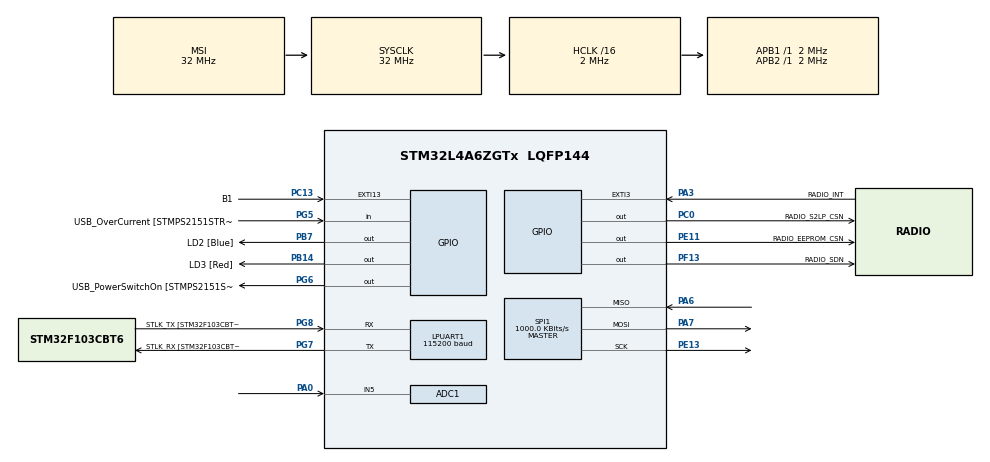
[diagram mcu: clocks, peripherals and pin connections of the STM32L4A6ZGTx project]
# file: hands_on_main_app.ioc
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ADC1.Channel-0\#ChannelRegularConversion=ADC_CHANNEL_5
ADC1.ClockPrescaler=ADC_CLOCK_ASYNC_DIV10
ADC1.DMAContinuousRequests=ENABLE
ADC1.ExternalTrigConv=ADC_EXTERNALTRIG_T3_TRGO
ADC1.NbrOfConversionFlag=1
ADC1.OffsetNumber-0\#ChannelRegularConversion=ADC_OFFSET_NONE
ADC1.Rank-0\#ChannelRegularConversion=1
ADC1.SamplingTime-0\#ChannelRegularConversion=ADC_SAMPLETIME_2CYCLES_5
ADC1.master=1
AES.Data\ encryption\ types\ list=AESCBC
AES.DataType=CRYP_DATATYPE_8B
AES.KeySize=CRYP_KEYSIZE_128B
AES.KeyWriteFlag=CRYP_KEY_WRITE_DISABLE
AES.OperatingMode=CRYP_ALGOMODE_ENCRYPT
AES.pKey=00 00 00 00 00 00 00 00 00 00 00 00 00 00 00 00
Dma.ADC1.0.Direction=DMA_PERIPH_TO_MEMORY
Dma.ADC1.0.Instance=DMA1_Channel1
Dma.ADC1.0.MemDataAlignment=DMA_MDATAALIGN_HALFWORD
Dma.ADC1.0.MemInc=DMA_MINC_ENABLE
Dma.ADC1.0.Mode=DMA_CIRCULAR
Dma.ADC1.0.PeriphDataAlignment=DMA_PDATAALIGN_HALFWORD
Dma.ADC1.0.PeriphInc=DMA_PINC_DISABLE
Dma.ADC1.0.Priority=DMA_PRIORITY_LOW
Dma.Request0=ADC1
LPUART1.AutoBaudRateEnableParam=UART_ADVFEATURE_AUTOBAUDRATE_DISABLE
LPUART1.BaudRate=115200
LPUART1.DMADisableonRxErrorParam=UART_ADVFEATURE_DMA_ENABLEONRXERROR
LPUART1.DataInvertParam=UART_ADVFEATURE_DATAINV_DISABLE
LPUART1.MSBFirstParam=UART_ADVFEATURE_MSBFIRST_DISABLE
LPUART1.Mode=UART_MODE_TX_RX
LPUART1.OneBitSampling=UART_ONE_BIT_SAMPLE_DISABLE
LPUART1.OverrunDisableParam=UART_ADVFEATURE_OVERRUN_ENABLE
LPUART1.Parity=UART_PARITY_NONE
LPUART1.RxPinLevelInvertParam=UART_ADVFEATURE_RXINV_DISABLE
LPUART1.StopBits=UART_STOPBITS_1
LPUART1.SwapParam=UART_ADVFEATURE_SWAP_DISABLE
LPUART1.TxPinLevelInvertParam=UART_ADVFEATURE_TXINV_DISABLE
LPUART1.WordLength=UART_WORDLENGTH_8B
Mcu.Family=STM32L4
Mcu.Name=STM32L4A6ZGTx
Mcu.Package=LQFP144
NVIC.AES_IRQn=true\:0\:0\:false\:false\:true\:true\:true\:true
NVIC.DMA1_Channel1_IRQn=true\:1\:0\:true\:false\:true\:false\:true\:true
NVIC.EXTI15_10_IRQn=true\:0\:0\:false\:false\:true\:true\:true\:true
NVIC.EXTI3_IRQn=true\:0\:0\:false\:false\:true\:true\:true\:true
NVIC.PriorityGroup=NVIC_PRIORITYGROUP_4
NVIC.TIM3_IRQn=true\:0\:0\:true\:false\:true\:true\:true\:true
PA0.Signal=ADCx_IN5
PA10.GPIO_Label=USB_ID
PA10.Signal=USB_OTG_FS_ID
PA11.GPIO_Label=USB_DM
PA11.Signal=USB_OTG_FS_DM
PA12.GPIO_Label=USB_DP
PA12.Signal=USB_OTG_FS_DP
PA13\ (JTMS/SWDIO).GPIO_Label=TMS
PA13\ (JTMS/SWDIO).Mode=Trace_Asynchronous_SW
PA13\ (JTMS/SWDIO).Signal=SYS_JTMS-SWDIO
PA14\ (JTCK/SWCLK).GPIO_Label=TCK
PA14\ (JTCK/SWCLK).Mode=Trace_Asynchronous_SW
PA14\ (JTCK/SWCLK).Signal=SYS_JTCK-SWCLK
PA3.GPIO_Label=RADIO_INT
PA3.GPIO_ModeDefaultEXTI=GPIO_MODE_IT_FALLING
PA3.Signal=GPXTI3
PA6.Mode=Full_Duplex_Master
PA6.Signal=SPI1_MISO
PA7.Mode=Full_Duplex_Master
PA7.Signal=SPI1_MOSI
PA8.GPIO_Label=USB_SOF [TP1]
PA8.Signal=USB_OTG_FS_SOF
PA9.GPIO_Label=USB_VBUS
PA9.Signal=USB_OTG_FS_VBUS
PB14.GPIO_Label=LD3 [Red]
PB14.Signal=GPIO_Output
PB3\ (JTDO/TRACESWO).GPIO_Label=SWO
PB3\ (JTDO/TRACESWO).Mode=Trace_Asynchronous_SW
PB3\ (JTDO/TRACESWO).Signal=SYS_JTDO-SWO
PB7.GPIO_Label=LD2 [Blue]
PB7.Signal=GPIO_Output
PC0.GPIO_Label=RADIO_S2LP_CSN
PC0.GPIO_Speed=GPIO_SPEED_FREQ_VERY_HIGH
PC0.PinState=GPIO_PIN_SET
PC0.Signal=GPIO_Output
PC13.GPIO_Label=B1
PC13.GPIO_ModeDefaultEXTI=GPIO_MODE_IT_RISING
PC13.Signal=GPXTI13
PC14-OSC32_IN\ (PC14).Mode=LSE-External-Oscillator
PC14-OSC32_IN\ (PC14).Signal=RCC_OSC32_IN
PC15-OSC32_OUT\ (PC15).Mode=LSE-External-Oscillator
PC15-OSC32_OUT\ (PC15).Signal=RCC_OSC32_OUT
PE11.GPIO_Label=RADIO_EEPROM_CSN
PE11.GPIO_Speed=GPIO_SPEED_FREQ_VERY_HIGH
PE11.PinState=GPIO_PIN_SET
PE11.Signal=GPIO_Output
PE13.Mode=Full_Duplex_Master
PE13.Signal=SPI1_SCK
PF13.GPIO_Label=RADIO_SDN
PF13.GPIO_Speed=GPIO_SPEED_FREQ_VERY_HIGH
PF13.PinState=GPIO_PIN_SET
PF13.Signal=GPIO_Output
PG5.GPIO_Label=USB_OverCurrent [STMPS2151STR_FAULT]
PG5.Signal=GPIO_Input
PG6.GPIO_Label=USB_PowerSwitchOn [STMPS2151STR_EN]
PG6.Signal=GPIO_Output
PG7.GPIO_Label=STLK_RX [STM32F103CBT6_PA3]
PG7.Mode=Asynchronous
PG7.Signal=LPUART1_TX
PG8.GPIO_Label=STLK_TX [STM32F103CBT6_PA2]
PG8.Mode=Asynchronous
PG8.Signal=LPUART1_RX
PH1-OSC_OUT\ (PH1).Signal=RCC_OSC_OUT
ProjectManager.HeapSize=0x200
ProjectManager.StackSize=0x400
ProjectManager.TargetToolchain=STM32CubeIDE
RCC.ADCCLockSelection=RCC_ADCCLKSOURCE_SYSCLK
RCC.ADCFreq_Value=32000000
RCC.AHBCLKDivider=RCC_SYSCLK_DIV16
RCC.AHBFreq_Value=2000000
RCC.APB1Freq_Value=2000000
RCC.APB1TimFreq_Value=2000000
RCC.APB2Freq_Value=2000000
RCC.APB2TimFreq_Value=2000000
RCC.CortexFreq_Value=2000000
RCC.FLatency=FLASH_LATENCY_0
RCC.HCLKFreq_Value=2000000
RCC.HSE_VALUE=8000000
RCC.HSI48_VALUE=48000000
RCC.HSI_VALUE=16000000
RCC.LPUART1CLockSelection=RCC_LPUART1CLKSOURCE_SYSCLK
RCC.MSIClockRange=RCC_MSIRANGE_10
RCC.MSI_VALUE=32000000
RCC.PLLN=24
RCC.PLLSAI1N=24
RCC.SYSCLKFreq_VALUE=32000000
RCC.USBFreq_Value=384000000
RCC.VCOOutputFreq_Value=768000000
SH.ADCx_IN5.0=ADC1_IN5,IN5-Single-Ended
SPI1.BaudRatePrescaler=SPI_BAUDRATEPRESCALER_4
SPI1.CalculateBaudRate=1000.0 KBits/s
SPI1.DataSize=SPI_DATASIZE_8BIT
SPI1.Direction=SPI_DIRECTION_2LINES
SPI1.Mode=SPI_MODE_MASTER
SPI1.VirtualType=VM_MASTER
TIM3.Period=8
TIM3.Prescaler=23
TIM3.TIM_MasterOutputTrigger=TIM_TRGO_UPDATE
VP_AES_VS_AES.Mode=AES_Activate
VP_TIM3_VS_ClockSourceINT.Mode=Internal
board=NUCLEO-L4A6ZG

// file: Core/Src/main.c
/* USER CODE BEGIN Header */
/**
  ******************************************************************************
  * @file           : main.c
  * @brief          : Main program body
  ******************************************************************************
  * @attention
  *
  * <h2><center>&copy; Copyright (c) 2021 STMicroelectronics.
  * All rights reserved.</center></h2>
  *
  * This software component is licensed by ST under BSD 3-Clause license,
  * the "License"; You may not use this file except in compliance with the
  * License. You may obtain a copy of the License at:
  *                        opensource.org/licenses/BSD-3-Clause
  *
  ******************************************************************************
  */
/* USER CODE END Header */
#include "main.h"
#include "adc.h"
#include "aes.h"
#include "dma.h"
#include "spi.h"
#include "tim.h"
#include "gpio.h"

/* USER CODE BEGIN Includes */
#include <stdio.h>
#include <string.h>
#include "arm_math.h"
#include "adc_dblbuf.h"
#include "retarget.h"
#include "s2lp.h"
#include "spectrogram.h"
#include "eval_radio.h"
#include "packet.h"
#include "config.h"
#include "utils.h"
#include "usart.h"

/* USER CODE END Includes */

/* USER CODE BEGIN PV */

volatile uint8_t btn_press;

//AES Test
uint32_t input_data[4]= {0x6bc1bee2,0x2e409f96,0xe93d7e11,0x7393172a};
uint32_t encrypted_data[4];
uint32_t decrypted_data[4];
uint8_t test_msg_hw[] = "Hello World!abcdef";
size_t test_msg_len_hw = sizeof(test_msg_hw) - 1;
uint8_t tag_hw[16];
uint8_t test_msg[] = "Hello World!abcdef";
size_t test_msg_len = sizeof(test_msg) - 1;
uint8_t tag[16];

// DMA buffers
//uint8_t padded_msg_dma[1024]; // Adjust size based on message length
//uint8_t state_dma[1024];      // Adjust size based on message length

//For the spectrogram
// Global buffers for testing
q15_t test_samples[SAMPLES_PER_MELVEC];
q15_t melvec_ref[MELVEC_LENGTH];
q15_t melvec_opt[MELVEC_LENGTH];
q15_t melvec_csr[MELVEC_LENGTH];

#define SAMPLE_RATE 16000  // Example: 16 kHz sampling rate
#define SIGNAL_FREQ 1000   // Example: 1 kHz sine wave

/* USER CODE END PV */

void SystemClock_Config(void);

/* USER CODE BEGIN 0 */
//state is not the good type of buffer, look with statew and so on, look at the description of the function
//We can give the entire message to the function but the message must be a multiple of 16 bytes, so we may need to add zeros to the end
//the tag is obtain by taking the last 16 bytes (and not the first 16 bytes like it is done for now)

/*
void tag_cbc_mac_hardware(uint8_t *tag, const uint8_t *msg, size_t msg_len) {
    size_t padded_len = (msg_len + 15) & ~15; // Round up to next multiple of 16
    uint8_t padded_msg[padded_len] __attribute__((aligned(4))); // Ensure 32-bit alignment
    uint8_t state[padded_len] __attribute__((aligned(4))); // Ensure 32-bit alignment
    size_t i, j;

    // Manually copy the message and pad with zeros
    for (i = 0; i < msg_len; i++) {
        padded_msg[i] = msg[i];
    }
    for (; i < padded_len; i++) {
        padded_msg[i] = 0; // Zero-padding
    }

    // Encrypt the entire message in one call
    if (HAL_CRYP_AESCBC_Encrypt(&hcryp, padded_msg,(uint16_t) padded_len, state, HAL_MAX_DELAY) != HAL_OK) {
        DEBUG_PRINT("AES encryption error\n");
    }

    // Copy the last block (CBC-MAC tag)
    for (j = 0; j < 16; j++) {
        tag[j] = state[padded_len - 16 + j];}

}

*/

/*
void tag_cbc_mac_hardware(uint8_t *tag, const uint8_t *msg, size_t msg_len) {
    size_t padded_len = (msg_len + 15) & ~15; // Round up to next multiple of 16
    uint8_t padded_msg[padded_len] __attribute__((aligned(4))); // Ensure 32-bit alignment
    size_t i;

    // Manually copy the message and pad with zeros
    for (i = 0; i < msg_len; i++) {
        padded_msg[i] = msg[i];
    }
    for (; i < padded_len; i++) {
        padded_msg[i] = 0; // Zero-padding
    }

    // Start interrupt-based AES CBC encryption
    if (HAL_CRYP_AESCBC_Encrypt_IT(&hcryp, padded_msg, padded_len, state_dma) != HAL_OK) {
        DEBUG_PRINT("AES encryption error\n");
    }

    // MCU enters sleep state while waiting for interrupt to signal encryption completion
    while (HAL_CRYP_GetState(&hcryp) != HAL_CRYP_STATE_READY) {
    	DEBUG_PRINT("Waiting for encryption...\n");
        __WFI(); // Sleep until operation finishes and interrupt is triggered
    }

    // Copy the last block (CBC-MAC tag)
    for (i = 0; i < 16; i++) {
        tag[i] = state_dma[padded_len - 16 + i];
    }
}

*/

void generate_test_data() {
    for (int i = 0; i < SAMPLES_PER_MELVEC; i++) {
        // Compute phase increment correctly (scaled to Q15 full range)
        uint16_t phase = (uint16_t)(((uint32_t)i * SIGNAL_FREQ * 65536) / SAMPLE_RATE);

        // Get sine value in Q15 format
        test_samples[i] = arm_sin_q15(phase);
    }
}

void HAL_GPIO_EXTI_Callback(uint16_t GPIO_Pin)
{
	if (GPIO_Pin == B1_Pin) {
		btn_press = 1;
	}
	else if (GPIO_Pin == RADIO_INT_Pin)
		S2LP_IRQ_Handler();
}

static void acquire_and_send_packet() {

	//uint8_t plaintext[800]; //Example buffer for feature vectors
	//uint8_t ciphertext[800]; //Encryption buffer

	if (StartADCAcq(N_MELVECS) != HAL_OK) {
		DEBUG_PRINT("Error while enabling the DMA\r\n");
	}

	while (!IsADCFinished()) {

		__WFI();
	}

}

void run(void)
{
	btn_press = 0;

	while (1)
	{
	  while (!btn_press) {

		  HAL_GPIO_WritePin(GPIOB, LD2_Pin, GPIO_PIN_SET);
		  HAL_Delay(200);
		  HAL_GPIO_WritePin(GPIOB, LD2_Pin, GPIO_PIN_RESET);
		  HAL_Delay(200);
	  }
	  btn_press = 0;
#if (CONTINUOUS_ACQ == 1)
	  while (!btn_press) {
		  //start_cycle_count();
		  acquire_and_send_packet();
		  //stop_cycle_count("End Acquire Send Packet");

	  }
	  btn_press = 0;
#elif (CONTINUOUS_ACQ == 0)
	  acquire_and_send_packet();
#else
#error "Wrong value for CONTINUOUS_ACQ."
#endif
	}
}

/* USER CODE END 0 */

int main(void)
{
  /* USER CODE BEGIN 1 */

  DEBUG_PRINT("Hello\n");

  /* USER CODE END 1 */

  /* MCU Configuration--------------------------------------------------------*/

  /* Reset of all peripherals, Initializes the Flash interface and the Systick. */
  HAL_Init();

  /* Configure the system clock */
  SystemClock_Config();

  /* USER CODE BEGIN SysInit */
  MX_LPUART1_UART_Init();
  RetargetInit(&hlpuart1);
  DEBUG_PRINT("Hello world\r\n");

  /* USER CODE END SysInit */

  /* Initialize all configured peripherals */
  MX_GPIO_Init();
  MX_DMA_Init();
  MX_SPI1_Init();
  MX_TIM3_Init();
  MX_ADC1_Init();
  MX_AES_Init();
  /* USER CODE BEGIN 2 */
  //Test encryption
  //HAL_CRYP_AESCBC_Encrypt(&hcryp, input_data, 4, encrypted_data, 1000);
  //HAL_CRYP_AESCBC_Decrypt(&hcryp, encrypted_data, 4, decrypted_data, 1000);

  //tag_cbc_mac_hardware(tag_hw, test_msg_hw, test_msg_len_hw);
  //tag_cbc_mac(tag, test_msg, test_msg_len);

#if ENABLE_RADIO
  // Enable S2LP Radio
  HAL_StatusTypeDef err = S2LP_Init(&hspi1);
  if (err)  {
	  DEBUG_PRINT("[S2LP] Error while initializing: %u\r\n", err);
	  Error_Handler();
  } else {
	  DEBUG_PRINT("[S2LP] Init OK\r\n");

  }
#endif

  if (HAL_ADCEx_Calibration_Start(&hadc1, ADC_SINGLE_ENDED) != HAL_OK) {
	  DEBUG_PRINT("Error while calibrating the ADC\r\n");
	  Error_Handler();
  }
  if (HAL_TIM_Base_Start(&htim3) != HAL_OK) {
	  DEBUG_PRINT("Error while enabling timer TIM3\r\n");
	  Error_Handler();
  }

  /* USER CODE END 2 */

  /* Infinite loop */
  /* USER CODE BEGIN WHILE */
#if (RUN_CONFIG == MAIN_APP)
  run();
#elif (RUN_CONFIG == EVAL_RADIO)
  eval_radio();
#else
#error "Wrong value for RUN_CONFIG."
#endif

    /* USER CODE END WHILE */

}

void SystemClock_Config(void)
{
  RCC_OscInitTypeDef RCC_OscInitStruct = {0};
  RCC_ClkInitTypeDef RCC_ClkInitStruct = {0};

  /** Configure the main internal regulator output voltage
  */
  if (HAL_PWREx_ControlVoltageScaling(PWR_REGULATOR_VOLTAGE_SCALE1) != HAL_OK)
  {
    Error_Handler();
  }
  /** Initializes the RCC Oscillators according to the specified parameters
  * in the RCC_OscInitTypeDef structure.
  */
  RCC_OscInitStruct.OscillatorType = RCC_OSCILLATORTYPE_MSI;
  RCC_OscInitStruct.MSIState = RCC_MSI_ON;
  RCC_OscInitStruct.MSICalibrationValue = 0;
  RCC_OscInitStruct.MSIClockRange = RCC_MSIRANGE_10;
  RCC_OscInitStruct.PLL.PLLState = RCC_PLL_NONE;
  if (HAL_RCC_OscConfig(&RCC_OscInitStruct) != HAL_OK)
  {
    Error_Handler();
  }
  /** Initializes the CPU, AHB and APB buses clocks
  */
  RCC_ClkInitStruct.ClockType = RCC_CLOCKTYPE_HCLK|RCC_CLOCKTYPE_SYSCLK
                              |RCC_CLOCKTYPE_PCLK1|RCC_CLOCKTYPE_PCLK2;
  RCC_ClkInitStruct.SYSCLKSource = RCC_SYSCLKSOURCE_MSI;
  RCC_ClkInitStruct.AHBCLKDivider = RCC_SYSCLK_DIV16;
  RCC_ClkInitStruct.APB1CLKDivider = RCC_HCLK_DIV1;
  RCC_ClkInitStruct.APB2CLKDivider = RCC_HCLK_DIV1;

  if (HAL_RCC_ClockConfig(&RCC_ClkInitStruct, FLASH_LATENCY_0) != HAL_OK)
  {
    Error_Handler();
  }
}

void Error_Handler(void)
{
  /* USER CODE BEGIN Error_Handler_Debug */
  __disable_irq();
  DEBUG_PRINT("Entering error Handler\r\n");
  while (1)
  {
	  // Blink LED3 (red)
	  HAL_GPIO_WritePin(GPIOB, LD3_Pin, GPIO_PIN_SET);
	  for (volatile int i=0; i < SystemCoreClock/200; i++);
	  HAL_GPIO_WritePin(GPIOB, LD3_Pin, GPIO_PIN_RESET);
	  for (volatile int i=0; i < SystemCoreClock/200; i++);
  }
  /* USER CODE END Error_Handler_Debug */
}

#ifdef  USE_FULL_ASSERT
/**
  * @brief  Reports the name of the source file and the source line number
  *         where the assert_param error has occurred.
  * @param  file: pointer to the source file name
  * @param  line: assert_param error line source number
  * @retval None
  */
void assert_failed(uint8_t *file, uint32_t line)
{
  /* USER CODE BEGIN 6 */
  /* User can add his own implementation to report the file name and line number,
     ex: DEBUG_PRINT("Wrong parameters value: file %s on line %d\r\n", file, line) */
  /* USER CODE END 6 */
}
#endif /* USE_FULL_ASSERT */

/************************ (C) COPYRIGHT STMicroelectronics *****END OF FILE****/
